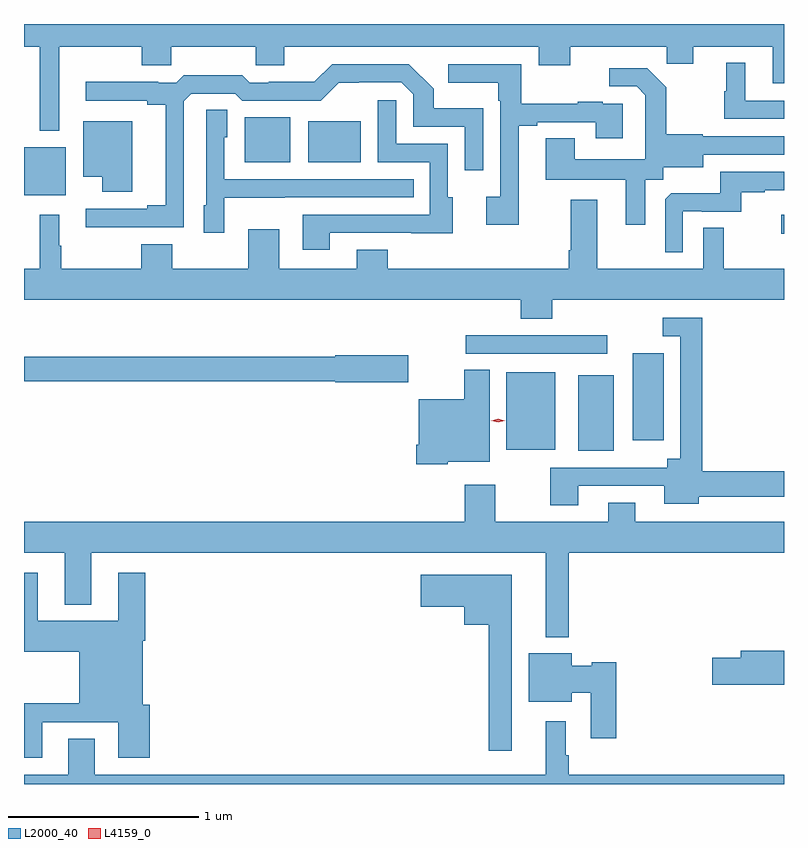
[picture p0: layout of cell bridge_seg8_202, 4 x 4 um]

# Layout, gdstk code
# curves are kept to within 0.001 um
import gdstk
lib = gdstk.Library(unit=1e-6, precision=1e-09)
def R(c, l, rs):  # rectangles x0, y0, x1, y1
    for r in rs: c.add(gdstk.rectangle(r[:2], r[2:], *l))
def P(c, l, *ps):  # polygons
    for p in ps: c.add(gdstk.Polygon(p, *l))
L2000_40 = (2000, 40)
L4159_0 = (4159, 0)

bridge_seg8_202 = lib.new_cell('bridge_seg8_202')
R(bridge_seg8_202, L2000_40, [(336.458,1117.037,336.646,1117.435), (336.08,1117.043,336.337,1117.45), (336.746,1117.092,336.907,1117.549), (335.865,1117.548,336.61,1117.644), (337.527,1118.18,337.541,1118.278), (333.541,1118.381,333.76,1118.635), (334.703,1118.555,334.942,1118.791), (335.036,1118.555,335.314,1118.77)])
P(bridge_seg8_202, L2000_40, [(334.317,1119.164),(334.762,1119.164),(334.762,1119.066),(334.912,1119.066),(334.912,1119.164),(336.251,1119.164),(336.251,1119.065),(336.415,1119.065),(336.415,1119.164),(336.925,1119.164),(336.925,1119.074),(337.063,1119.074),(337.063,1119.164),(337.481,1119.164),(337.481,1118.97),(337.541,1118.97),(337.541,1119.283),(333.541,1119.283),(333.541,1119.164),(333.623,1119.164),(333.623,1118.72),(333.727,1118.72),(333.727,1119.164),(334.162,1119.164),(334.162,1119.066),(334.317,1119.066)],
  [(337.541,1118.88),(337.336,1118.88),(337.336,1119.079),(337.238,1119.079),(337.238,1118.928),(337.227,1118.928),(337.227,1118.784),(337.541,1118.784)],
  [(336.145,1118.748),(336.241,1118.748),(336.241,1118.766),(336.551,1118.766),(336.551,1118.682),(336.691,1118.682),(336.691,1118.862),(336.587,1118.862),(336.587,1118.875),(336.455,1118.875),(336.455,1118.864),(336.157,1118.864),(336.157,1119.072),(335.775,1119.072),(335.775,1118.975),(336.036,1118.975),(336.036,1118.879),(336.048,1118.879),(336.048,1118.374),(335.973,1118.374),(335.973,1118.226),(336.145,1118.226)],
  [(334.383,1118.877),(334.422,1118.916),(334.653,1118.916),(334.689,1118.88),(335.103,1118.88),(335.198,1118.975),(335.526,1118.976),(335.589,1118.913),(335.589,1118.742),(335.862,1118.742),(335.862,1118.514),(335.958,1118.514),(335.958,1118.839),(335.697,1118.839),(335.697,1118.942),(335.566,1119.072),(335.163,1119.072),(335.069,1118.978),(334.828,1118.978),(334.828,1118.973),(334.728,1118.973),(334.689,1119.013),(334.381,1119.013),(334.341,1118.973),(334.247,1118.973),(334.247,1118.978),(333.867,1118.978),(333.867,1118.88),(334.19,1118.88),(334.19,1118.858),(334.286,1118.858),(334.286,1118.33),(334.19,1118.33),(334.19,1118.31),(333.867,1118.31),(333.867,1118.214),(334.383,1118.214)],
  [(336.811,1118.464),(336.906,1118.464),(336.906,1118.528),(337.117,1118.528),(337.117,1118.595),(337.541,1118.595),(337.541,1118.691),(337.113,1118.691),(337.113,1118.704),(336.921,1118.704),(336.921,1118.949),(336.821,1119.049),(336.621,1119.049),(336.621,1118.955),(336.765,1118.955),(336.812,1118.908),(336.812,1118.813),(336.81,1118.813),(336.81,1118.572),(336.439,1118.572),(336.439,1118.681),(336.287,1118.681),(336.287,1118.462),(336.707,1118.462),(336.707,1118.226),(336.811,1118.226)],
  [(335.149,1118.184),(335.579,1118.184),(335.579,1118.183),(335.797,1118.183),(335.797,1118.37),(335.772,1118.37),(335.772,1118.652),(335.499,1118.652),(335.499,1118.881),(335.403,1118.881),(335.403,1118.556),(335.676,1118.556),(335.676,1118.28),(335.009,1118.28),(335.009,1118.094),(335.149,1118.094)],
  [(334.596,1118.369),(334.913,1118.369),(334.913,1118.37),(335.591,1118.37),(335.591,1118.466),(334.596,1118.466),(334.596,1118.688),(334.612,1118.688),(334.612,1118.831),(334.5,1118.831),(334.5,1118.328),(334.487,1118.328),(334.487,1118.184),(334.596,1118.184)],
  [(334.111,1118.77),(333.854,1118.77),(333.854,1118.48),(333.953,1118.48),(333.953,1118.4),(334.111,1118.4)],
  [(337.008,1118.298),(337.108,1118.298),(337.108,1118.295),(337.316,1118.295),(337.316,1118.397),(337.439,1118.397),(337.439,1118.408),(337.541,1118.408),(337.541,1118.505),(337.206,1118.505),(337.206,1118.393),(336.947,1118.393),(336.915,1118.361),(336.915,1118.081),(337.008,1118.081)],
  [(336.32,1117.832),(337.541,1117.832),(337.541,1117.996),(337.225,1117.996),(337.225,1118.21),(337.116,1118.21),(337.116,1117.996),(336.559,1117.996),(336.559,1118.359),(336.419,1118.359),(336.419,1118.092),(336.407,1118.092),(336.407,1117.996),(335.455,1117.996),(335.455,1118.095),(335.291,1118.095),(335.291,1117.996),(334.885,1117.996),(334.885,1118.203),(334.721,1118.203),(334.721,1117.996),(334.321,1117.996),(334.321,1118.125),(334.157,1118.125),(334.157,1117.996),(333.737,1117.996),(333.737,1118.117),(333.727,1118.117),(333.727,1118.278),(333.623,1118.278),(333.623,1117.996),(333.541,1117.996),(333.541,1117.832),(336.155,1117.832),(336.155,1117.733),(336.32,1117.733)],
  [(336.457,1116.852),(336.911,1116.852),(336.911,1116.758),(337.093,1116.758),(337.093,1116.794),(337.541,1116.794),(337.541,1116.929),(337.112,1116.929),(337.112,1117.737),(336.903,1117.737),(336.903,1117.64),(336.996,1117.64),(336.996,1116.994),(336.926,1116.994),(336.926,1116.948),(336.31,1116.948),(336.31,1116.75),(336.457,1116.75)],
  [(335.563,1117.539),(335.178,1117.539),(335.178,1117.531),(333.541,1117.531),(333.541,1117.402),(335.178,1117.402),(335.178,1117.397),(335.563,1117.397)],
  [(335.772,1116.98),(335.992,1116.98),(335.992,1117.463),(335.858,1117.463),(335.858,1117.309),(335.618,1117.309),(335.618,1117.069),(335.606,1117.069),(335.606,1116.965),(335.772,1116.965)],
  [(336.409,1116.5),(337.541,1116.5),(337.541,1116.664),(336.757,1116.664),(336.757,1116.763),(336.617,1116.763),(336.617,1116.664),(336.021,1116.664),(336.021,1116.859),(335.861,1116.859),(335.861,1116.664),(333.541,1116.664),(333.541,1116.5),(333.755,1116.5),(333.755,1116.227),(333.895,1116.227),(333.895,1116.5),(336.287,1116.5),(336.287,1116.056),(336.409,1116.056)],
  [(333.637,1115.607),(334.037,1115.607),(334.037,1115.421),(334.202,1115.421),(334.202,1115.7),(334.165,1115.7),(334.165,1116.038),(334.178,1116.038),(334.178,1116.394),(334.037,1116.394),(334.037,1116.142),(333.613,1116.142),(333.613,1116.394),(333.541,1116.394),(333.541,1115.978),(333.833,1115.978),(333.833,1115.708),(333.541,1115.708),(333.541,1115.421),(333.637,1115.421)],
  [(336.109,1116.385),(335.628,1116.385),(335.628,1116.215),(335.858,1116.215),(335.858,1116.122),(335.988,1116.122),(335.988,1115.457),(336.109,1115.457)],
  [(337.541,1115.984),(337.313,1115.984),(337.313,1115.948),(337.164,1115.948),(337.164,1115.806),(337.541,1115.806)],
  [(336.659,1115.924),(336.528,1115.924),(336.528,1115.906),(336.424,1115.906),(336.424,1115.971),(336.197,1115.971),(336.197,1115.717),(336.424,1115.717),(336.424,1115.764),(336.524,1115.764),(336.524,1115.523),(336.659,1115.523)],
  [(336.409,1115.435),(336.391,1115.435),(336.391,1115.614),(336.287,1115.614),(336.287,1115.332),(333.913,1115.332),(333.913,1115.522),(333.773,1115.522),(333.773,1115.332),(333.541,1115.332),(333.541,1115.283),(337.541,1115.283),(337.541,1115.332),(336.409,1115.332)])
P(bridge_seg8_202, L4159_0, [(336.036,1117.186),(336,1117.196),(335.999,1117.196),(336,1117.196),(336.036,1117.206),(336.072,1117.196),(336.072,1117.196),(336.072,1117.196)])

lib.write_gds('bridge_seg8_202.gds')
